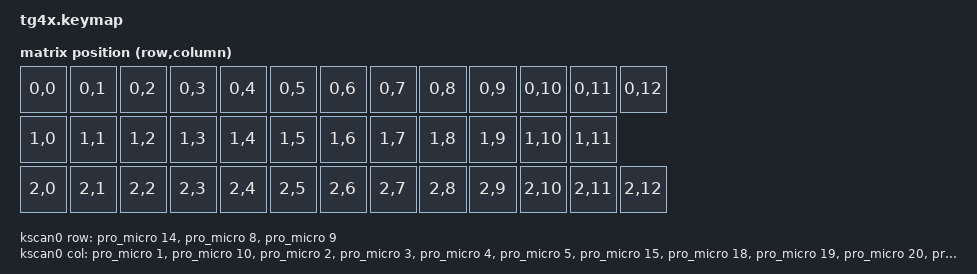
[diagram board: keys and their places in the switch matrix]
/*
 * Copyright (c) 2020 The ZMK Contributors
 *
 * SPDX-License-Identifier: MIT
 */

#include <dt-bindings/zmk/matrix_transform.h>


/*
 * PIN MAPPING
 *
 * ZMK PROMICRO QMK 
14  B3
8   B4
9   B5

1   D3
0   D2
2   D1
3   D0vc
4   D4
5   C6
15  B1
18  F7
19  F6
20  F5
21  F4
7   E6
8   D7

 */



/ {
    kscan0: kscan {
        compatible = "zmk,kscan-gpio-matrix";
        label = "KSCAN";

        diode-direction = "col2row";

        row-gpios
            = <&pro_micro 14 (GPIO_ACTIVE_HIGH | GPIO_PULL_DOWN)>
            , <&pro_micro 8 (GPIO_ACTIVE_HIGH | GPIO_PULL_DOWN)>
            , <&pro_micro 9 (GPIO_ACTIVE_HIGH | GPIO_PULL_DOWN)>
            ;

        col-gpios
            = <&pro_micro 1 GPIO_ACTIVE_HIGH>
            , <&pro_micro 10 GPIO_ACTIVE_HIGH>
            , <&pro_micro 2 GPIO_ACTIVE_HIGH>
            , <&pro_micro 3 GPIO_ACTIVE_HIGH>
            , <&pro_micro 4 GPIO_ACTIVE_HIGH>
            , <&pro_micro 5 GPIO_ACTIVE_HIGH>
            , <&pro_micro 15 GPIO_ACTIVE_HIGH>
            , <&pro_micro 18 GPIO_ACTIVE_HIGH>
            , <&pro_micro 19 GPIO_ACTIVE_HIGH>
            , <&pro_micro 20 GPIO_ACTIVE_HIGH>
            , <&pro_micro 21 GPIO_ACTIVE_HIGH>
            , <&pro_micro 7 GPIO_ACTIVE_HIGH>
            , <&pro_micro 6 GPIO_ACTIVE_HIGH>
            ;
    };

    default_transform: keymap_transform_0 {
        compatible = "zmk,matrix-transform";
        rows = <3>;
        columns = <13>;

        map = <
RC(0,0) RC(0,1) RC(0,2) RC(0,3) RC(0,4) RC(0,5) RC(0,6) RC(0,7) RC(0,8) RC(0,9) RC(0,10) RC(0,11) RC(0,12)
RC(1,0) RC(1,1) RC(1,2) RC(1,3) RC(1,4) RC(1,5) RC(1,6) RC(1,7) RC(1,8) RC(1,9) RC(1,10) RC(1,11)
RC(2,0) RC(2,1) RC(2,2) RC(2,3) RC(2,4) RC(2,5) RC(2,6) RC(2,7) RC(2,8) RC(2,9) RC(2,10) RC(2,11) RC(2,12)
        >;
    };

    chosen {
        zmk,kscan = &kscan0;
        zmk,matrix_transform = &default_transform;
    };
};
